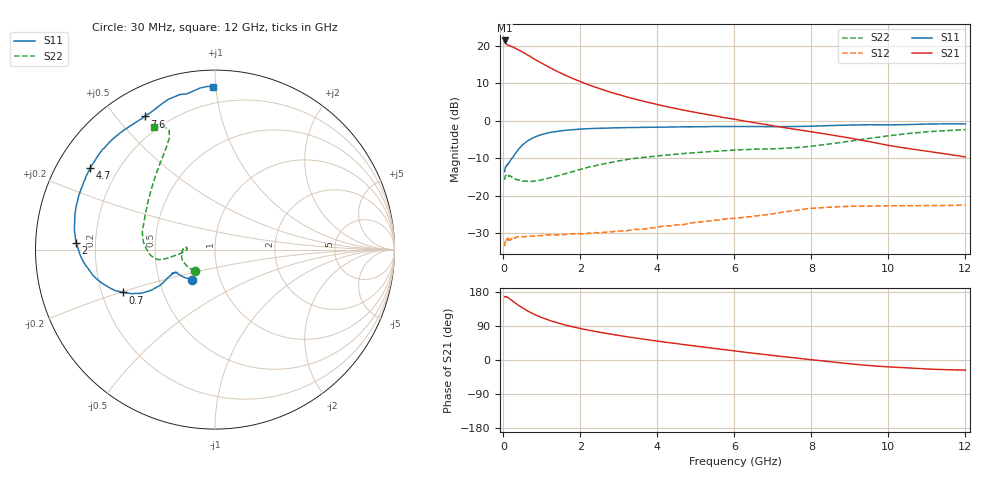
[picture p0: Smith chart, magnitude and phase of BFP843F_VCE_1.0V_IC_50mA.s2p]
! Infineon Technologies  Discrete & RF Semiconductors
! BFP843F
! VCE =  1.0 V,  IC =  50 mA
! Common Emitter S-Parameters:  Aug 2013
# GHz  S  MA  R  50
!  f  S11  S21  S12  S22
! GHz  MAG  ANG  MAG  ANG  MAG  ANG  MAG  ANG
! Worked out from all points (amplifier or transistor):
!   103 points, 30 MHz to 12 GHz, reference 50 ohm
!   highest |S21| = 21.5 dB at 30 MHz (marker M1)
!   |S21| within 3 dB of that: start of sweep to 476.2 MHz
!   unconditionally stable (mu >= 1): start of sweep to end of sweep
!   at 400 MHz: K = 1.77, MAG = 19.8 dB, |S12| = -31.0 dB
!   at 3.7 GHz: K = 2.36, MAG = 10.4 dB, |S12| = -28.9 dB
!   at 12 GHz: K = 2.03, MAG = 0.6 dB, |S12| = -22.5 dB
!   S11 on the Smith chart (normalised r, x): 30 MHz: 0.74, -0.26; 700 MHz: 0.29, -0.20; 2 GHz: 0.13, +0.02; 4.7 GHz: 0.10, +0.30; 7.6 GHz: 0.12, +0.60; 12 GHz: 0.09, +0.98
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0.03  0.2091 -126.9  11.85 166.6  0.0211 31.7  0.1624 -133.7
0.04  0.2278 -136.3  11.31 166.3  0.0236 22.6  0.1776 -145.2
0.05  0.2363 -140.7  10.94 167.6  0.0243 13.4  0.1837 -152.8
0.07  0.2481 -146.9  10.62 167.2  0.0253 25.2  0.1878 -160.7
0.13  0.2674 -150.5  10.21 163.8  0.0281 8.5  0.1857 -174.5
0.25  0.3297 -148.0  9.626 154.7  0.0282 9.0  0.1718 177.7
0.4  0.4209 -147.5  8.812 143.8  0.0282 8.8  0.1618 176.1
0.5  0.4779 -149.4  8.254 137.2  0.0282 7.8  0.1555 176.4
0.7  0.5666 -155.1  7.205 125.6  0.0286 8.6  0.1548 178.6
0.9  0.6316 -160.8  6.268 115.9  0.0291 9.2  0.1586 -179.4
1.2  0.6967 -168.3  5.158 104.5  0.0298 10.5  0.1728 -176.0
1.6  0.7455 -176.4  4.083 92.6  0.0302 13.8  0.1961 -173.0
2  0.7758 177.1  3.349 83.1  0.0311 15.7  0.2243 -171.7
2.1  0.7795 175.6  3.189 80.8  0.0303 16.9  0.2306 -171.3
3  0.8062 164.6  2.235 64.8  0.0336 24.2  0.2912 -169.5
4.1  0.8227 152.7  1.607 48.5  0.0388 28.7  0.3433 -172.4
4.7  0.8309 146.8  1.384 40.5  0.0412 31.1  0.3658 -176.4
6.1  0.8391 133.5  1.027 22.8  0.0504 31.8  0.4084 170.8
7.6  0.8384 117.8  0.767 5.3  0.0634 30.3  0.4376 151.8
8.5  0.8631 110.3  0.649 -4.7  0.0702 24.3  0.4917 135.9
10.5  0.8896 98.3  0.427 -20.8  0.0733 14.9  0.6739 112.1
12  0.9087 90.7  0.329 -26.6  0.0747 14.1  0.763 116.3
